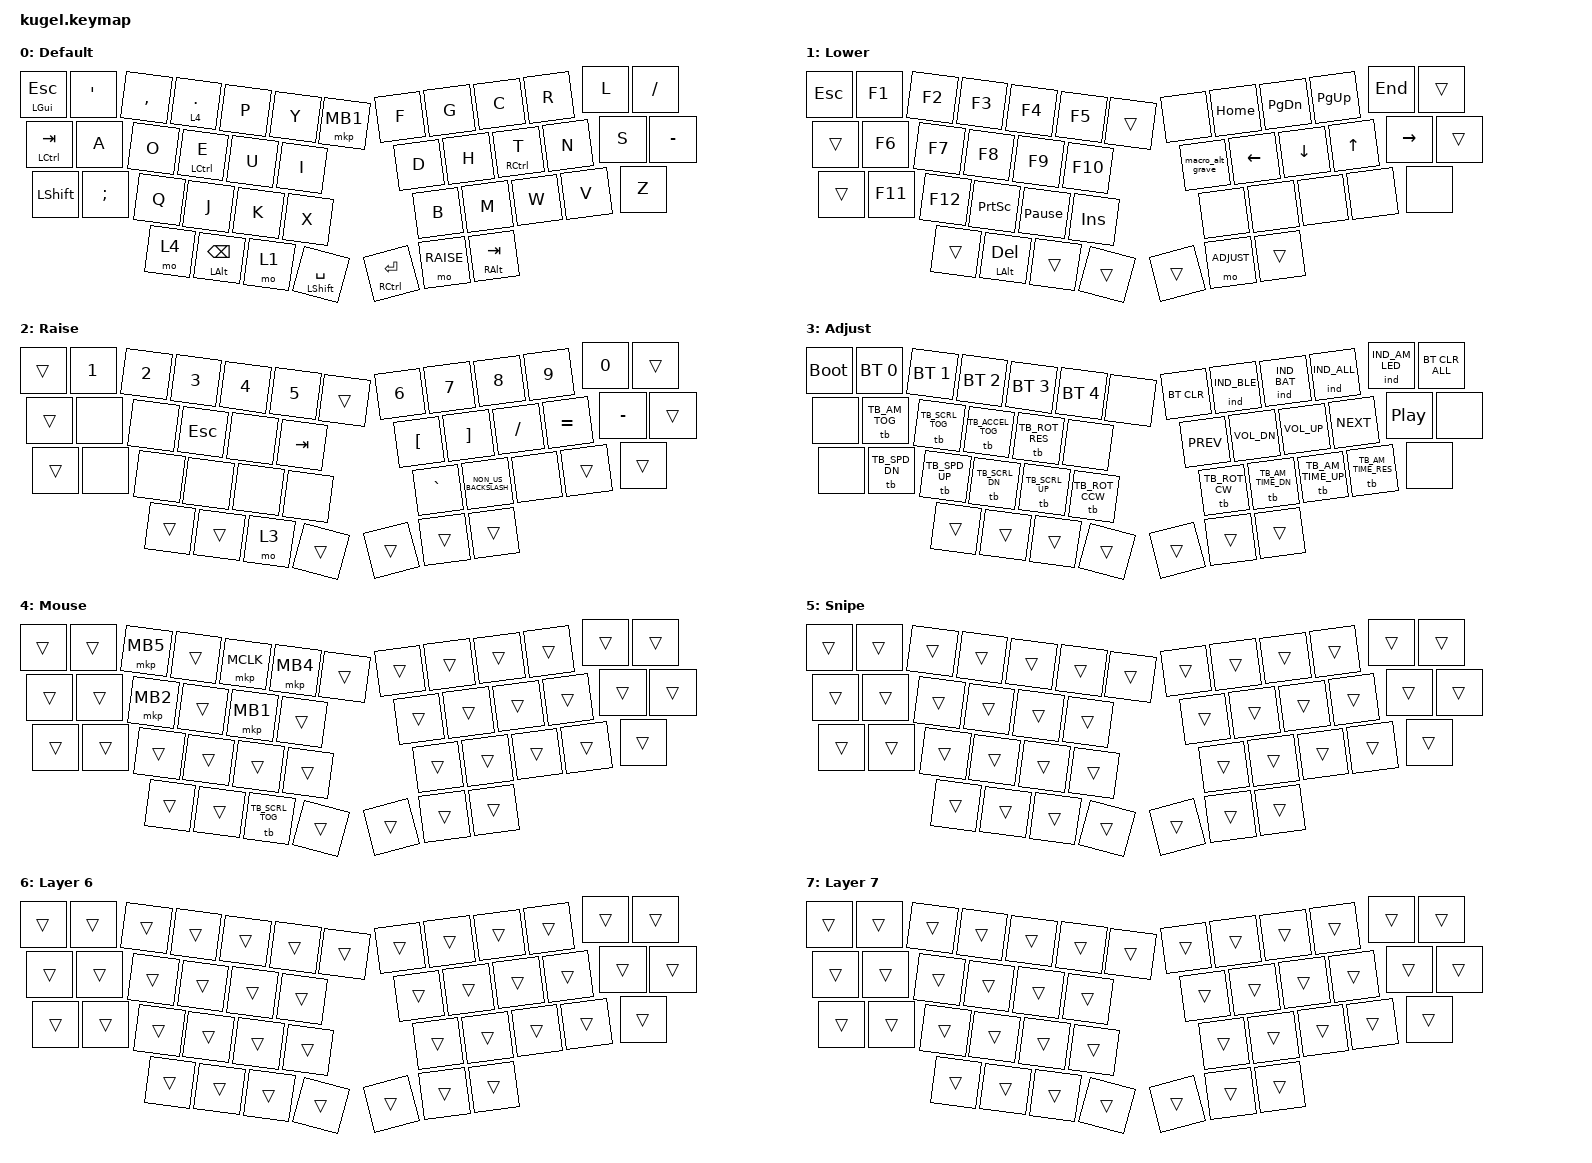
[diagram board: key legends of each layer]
/*
 * Copyright (c) 2024 The ZMK Contributors
 * SPDX-License-Identifier: MIT
 */

#include <dt-bindings/zmk/trackball.h>
#include <dt-bindings/zmk/indicator.h>
#include <behaviors.dtsi>
#include <dt-bindings/zmk/bt.h>
#include <dt-bindings/zmk/keys.h>
#include <dt-bindings/zmk/pointing.h>

#define DEFAULT 0
#define LOWER   1
#define RAISE   2
#define ADJUST  3
#define MOUSE   4
#define SNIPE   5
#define LAYER_6 6
#define LAYER_7 7

/ {
    // カスタム動作（ビヘイビア）の定義

    behaviors {
        // デフォルトのMod-Tap(&mt)の挙動を上書きし、QMK風の快適な設定に変更します

        mt: mod_tap {
            compatible = "zmk,behavior-hold-tap";
            #binding-cells = <2>;

            // --- ここからがカスタマイズ項目です ---
            // タップとホールドを認識する時間。200msに設定。

            tapping-term-ms = <200>;

            // 'tap-preferred'フレーバーを選択。
            // これにより、高速でキーを連続入力（ローリング）した際に、
            // ホールド（モディファイア）が誤爆するのを防ぎます。
            // QMKの`IGNORE_MOD_TAP_INTERRUPT`に近い挙動です。

            flavor = "tap-preferred";

            // (オプション) この時間内の素早い連続タップは、強制的にタップとして扱います。
            // これにより、スペースキーやエンターキーの連続タップがより確実になります。

            quick-tap-ms = <150>;

            // --- ここまでがカスタマイズ項目です ---

            bindings = <&kp>, <&kp>;
        };
    };

    // 日本語入力のオンオフで、ChromeでAltキーが暴発するための対策マクロ

    macros {
        macro_alt_grave: macro_alt_grave {
            compatible = "zmk,behavior-macro";
            #binding-cells = <0>;
            wait-ms = <5>;
            tap-ms = <5>;
            bindings =
                <&macro_press>,
                <&kp LALT>,
                <&macro_tap>,
                <&kp GRAVE>,
                <&macro_release>,
                <&kp LALT>;
        };
    };

    combos {
        compatible = "zmk,combos";

        left_click {
            bindings = <&mkp MB1>;
            key-positions = <17 16>;
        };
    };

    keymap {
        compatible = "zmk,keymap";

        default_layer {
            display-name = "Default";
            bindings = <
&mt LGUI ESC   &kp SINGLE_QUOTE        &kp COMMA  &lt 4 PERIOD     &kp P            &kp Y      &mkp MB1      &kp F  &kp G        &kp C  &kp R  &kp L      &kp SLASH
&mt LCTRL TAB  &kp A                   &kp O      &mt LCTRL E      &kp U            &kp I      &kp D         &kp H  &mt RCTRL T  &kp N  &kp S  &kp MINUS
&kp LSHFT      &kp SEMICOLON           &kp Q      &kp J            &kp K            &kp X      &kp B         &kp M  &kp W        &kp V  &kp Z
&mo 4          &mt LEFT_ALT BACKSPACE  &mo 1      &mt LSHFT SPACE  &mt RCTRL ENTER  &mo RAISE  &mt RALT TAB
            >;
        };

        lower_layer {
            display-name = "Lower";
            bindings = <
&kp ESC  &kp F1               &kp F2   &kp F3           &kp F4           &kp F5      &trans            &none     &kp HOME        &kp PAGE_DOWN  &kp PG_UP        &kp END  &trans
&trans   &kp F6               &kp F7   &kp F8           &kp F9           &kp F10     &macro_alt_grave  &kp LEFT  &kp DOWN_ARROW  &kp UP_ARROW   &kp RIGHT_ARROW  &trans
&trans   &kp F11              &kp F12  &kp PRINTSCREEN  &kp PAUSE_BREAK  &kp INSERT  &none             &none     &none           &none          &none
&trans   &mt LEFT_ALT DELETE  &trans   &trans           &trans           &mo ADJUST  &trans
            >;
        };

        raise_layer {
            display-name = "Raise";
            bindings = <
&trans  &kp NUMBER_1  &kp N2  &kp NUMBER_3  &kp NUMBER_4  &kp N5   &trans            &kp NUMBER_6          &kp N7     &kp N8     &kp N9     &kp N0  &trans
&trans  &none         &none   &kp ESCAPE    &none         &kp TAB  &kp LEFT_BRACKET  &kp RIGHT_BRACKET     &kp SLASH  &kp EQUAL  &kp MINUS  &trans
&trans  &none         &none   &none         &none         &none    &kp GRAVE         &kp NON_US_BACKSLASH  &none      &trans     &trans
&trans  &trans        &mo 3   &trans        &trans        &trans   &trans
            >;
        };

        adjust_layer {
            display-name = "Adjust";
            bindings = <
&bootloader  &bt BT_SEL 0   &bt BT_SEL 1     &bt BT_SEL 2      &bt BT_SEL 3    &bt BT_SEL 4  &none           &bt BT_CLR    &ind IND_BLE  &ind IND_BAT  &ind IND_ALL  &ind IND_AM_LED  &bt BT_CLR_ALL
&none        &tb TB_AM_TOG  &tb TB_SCRL_TOG  &tb TB_ACCEL_TOG  &tb TB_ROT_RES  &none         &kp C_PREV      &kp C_VOL_DN  &kp C_VOL_UP  &kp C_NEXT  &kp C_PP  &none
&none        &tb TB_SPD_DN  &tb TB_SPD_UP    &tb TB_SCRL_DN    &tb TB_SCRL_UP  &tb TB_ROT_CCW &tb TB_ROT_CW  &tb TB_AM_TIME_DN  &tb TB_AM_TIME_UP  &tb TB_AM_TIME_RES  &none
&trans       &trans         &trans           &trans            &trans          &trans        &trans
            >;
        };

        mouse_layer {
            display-name = "Mouse";
            bindings = <
&trans  &trans  &mkp MB5  &trans  &mkp MCLK  &mkp MB4  &trans  &trans  &trans  &trans  &trans  &trans  &trans
&trans  &trans  &mkp MB2  &trans  &mkp MB1   &trans    &trans  &trans  &trans  &trans  &trans  &trans
&trans  &trans  &trans    &trans  &trans     &trans    &trans  &trans  &trans  &trans  &trans
&trans  &trans  &tb TB_SCRL_TOG   &trans     &trans    &trans  &trans
            >;
        };

        snipe_layer {
            display-name = "Snipe";
            bindings = <
&trans  &trans  &trans  &trans  &trans  &trans  &trans  &trans  &trans  &trans  &trans  &trans  &trans
&trans  &trans  &trans  &trans  &trans  &trans  &trans  &trans  &trans  &trans  &trans  &trans
&trans  &trans  &trans  &trans  &trans  &trans  &trans  &trans  &trans  &trans  &trans
&trans  &trans  &trans  &trans  &trans  &trans  &trans
            >;
        };

        layer_6 {
            display-name = "Layer 6";
            bindings = <
&trans  &trans  &trans  &trans  &trans  &trans  &trans  &trans  &trans  &trans  &trans  &trans  &trans
&trans  &trans  &trans  &trans  &trans  &trans  &trans  &trans  &trans  &trans  &trans  &trans
&trans  &trans  &trans  &trans  &trans  &trans  &trans  &trans  &trans  &trans  &trans
&trans  &trans  &trans  &trans  &trans  &trans  &trans
            >;
        };

        layer_7 {
            display-name = "Layer 7";
            bindings = <
&trans  &trans  &trans  &trans  &trans  &trans  &trans  &trans  &trans  &trans  &trans  &trans  &trans
&trans  &trans  &trans  &trans  &trans  &trans  &trans  &trans  &trans  &trans  &trans  &trans
&trans  &trans  &trans  &trans  &trans  &trans  &trans  &trans  &trans  &trans  &trans
&trans  &trans  &trans  &trans  &trans  &trans  &trans
            >;
        };
    };
};
